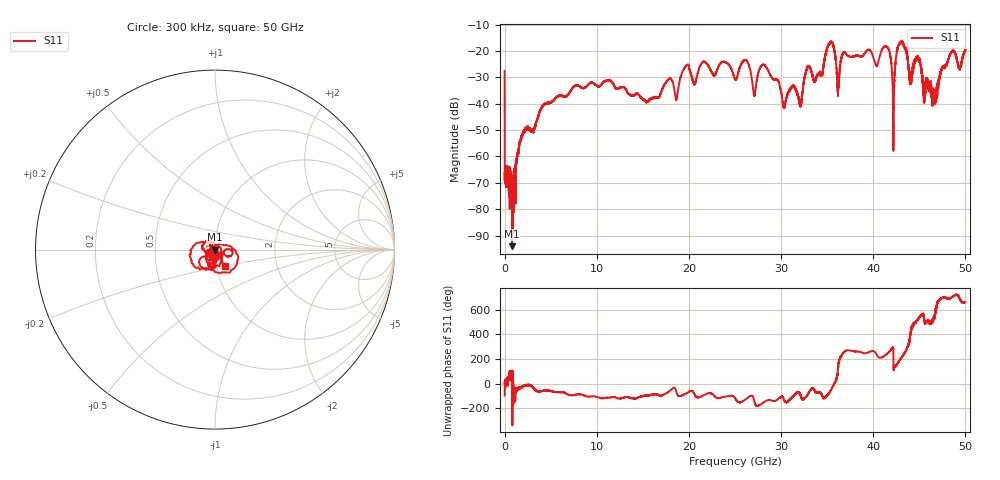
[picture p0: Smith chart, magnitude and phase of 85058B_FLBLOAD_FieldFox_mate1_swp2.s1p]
!Created with skrf (http://scikit-rf.org).
# Hz S RI R 50.0
!freq ReS11 ImS11
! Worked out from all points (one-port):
!   10001 points, 300 kHz to 50 GHz, reference 50 ohm
!   lowest |S11| = -94.0 dB at 810.3 MHz (marker M1), VSWR 1.00, Z = 50 + j0.00194 ohm
!   |S11| at or under -10 dB: start of sweep to end of sweep
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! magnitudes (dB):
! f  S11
! 300 kHz  -27.6
! 255.3 MHz  -65.6
! 810.3 MHz  -94.0
! 2.05 GHz  -51.2
! 6.25 GHz  -37.0
! 12.5 GHz  -33.9
! 18.75 GHz  -36.4
! 19.75 GHz  -25.5
! 25 GHz  -30.7
! 26.11 GHz  -23.3
! 27.09 GHz  -36.8
! 28.06 GHz  -25.3
! 30.32 GHz  -41.2
! 31.25 GHz  -33.1
! 32.1 GHz  -40.8
! 32.85 GHz  -26.1
! 34.3 GHz  -28.6
! 35.33 GHz  -16.9
! 36.19 GHz  -33.8
! 37.5 GHz  -22.2
! 41.43 GHz  -18.2
! 42.18 GHz  -43.3
! 42.89 GHz  -16.9
! 43.75 GHz  -23.1
! 44.9 GHz  -23.0
! 46.64 GHz  -36.4
! 48.48 GHz  -20.4
! 50 GHz  -19.6
